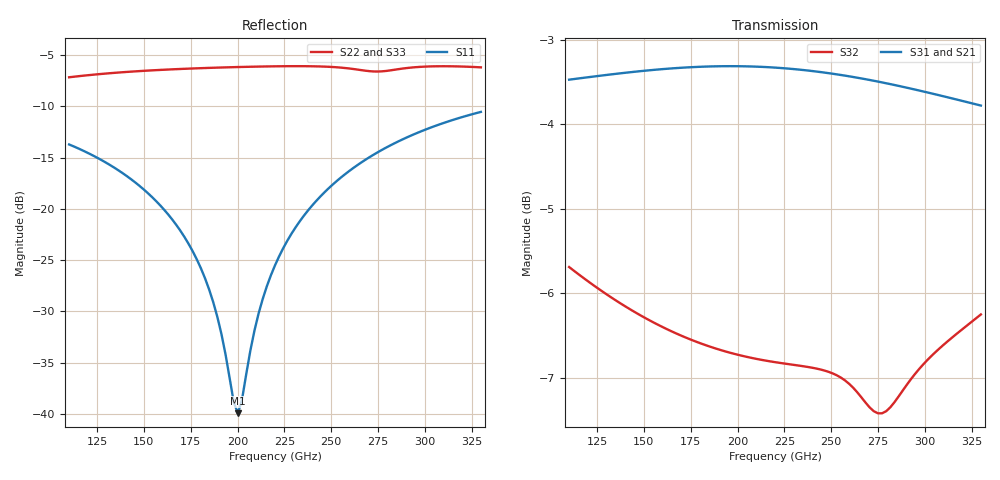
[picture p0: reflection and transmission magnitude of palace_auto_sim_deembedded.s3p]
! Created with skrf 1.11.0 (http://scikit-rf.org).
# GHz S DB R 50.0
!freq dBS11 angS11 dBS12 angS12 dBS13 angS13
! dBS21 angS21 dBS22 angS22 dBS23 angS23
! dBS31 angS31 dBS32 angS32 dBS33 angS33
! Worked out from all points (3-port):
!   101 points, 110 GHz to 330 GHz, reference 50 ohm
!   strongest paths, dB at 110 GHz, 165 GHz, 220 GHz, 275 GHz, 330 GHz:
!     S31: -3.5, -3.3, -3.3, -3.5, -3.8
!     S21: -3.5, -3.3, -3.3, -3.5, -3.8
!     S32: -5.7, -6.5, -6.8, -7.4, -6.3
!   lowest |S11| = -39.9 dB at 200.2 GHz (marker M1), VSWR 1.02, Z = 51 + j0.335 ohm
!   |S11| at or under -10 dB: start of sweep to end of sweep
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110  -13.73 140.8  -3.47 -42.1  -3.47 -42.1
     -3.47 -42.1  -7.18 52.0  -5.69 -99.3
     -3.47 -42.1  -5.69 -99.3  -7.18 52.0
145.2  -17.41 127.0  -3.38 -56.2  -3.38 -56.2
       -3.38 -56.2  -6.60 31.3  -6.23 -126.9
       -3.38 -56.2  -6.23 -126.9  -6.60 31.3
171.6  -22.74 113.9  -3.33 -67.0  -3.33 -67.0
       -3.33 -67.0  -6.35 18.4  -6.52 -147.0
       -3.33 -67.0  -6.52 -147.0  -6.35 18.4
187  -29.11 99.6  -3.32 -73.4  -3.32 -73.4
     -3.32 -73.4  -6.25 11.5  -6.65 -158.6
     -3.32 -73.4  -6.65 -158.6  -6.25 11.5
200.2  -39.94 19.1  -3.32 -78.9  -3.31 -78.9
       -3.32 -78.9  -6.18 5.8  -6.73 -168.5
       -3.31 -78.9  -6.73 -168.5  -6.18 5.7
211.2  -30.24 -53.4  -3.32 -83.5  -3.32 -83.5
       -3.32 -83.5  -6.13 1.1  -6.78 -176.8
       -3.32 -83.5  -6.78 -176.8  -6.14 1.1
220  -25.51 -64.7  -3.33 -87.2  -3.33 -87.2
     -3.33 -87.2  -6.11 -2.7  -6.82 176.6
     -3.33 -87.2  -6.82 176.6  -6.11 -2.7
237.6  -20.17 -76.1  -3.37 -94.5  -3.37 -94.6
       -3.37 -94.5  -6.10 -10.2  -6.87 163.1
       -3.37 -94.6  -6.87 163.1  -6.10 -10.3
259.6  -16.32 -86.1  -3.43 -103.7  -3.43 -103.7
       -3.43 -103.7  -6.32 -19.9  -7.07 145.8
       -3.43 -103.7  -7.07 145.8  -6.32 -19.9
330  -10.55 -112.1  -3.78 -132.0  -3.78 -132.0
     -3.78 -132.0  -6.21 -50.5  -6.25 96.9
     -3.78 -132.0  -6.25 96.9  -6.20 -50.6
